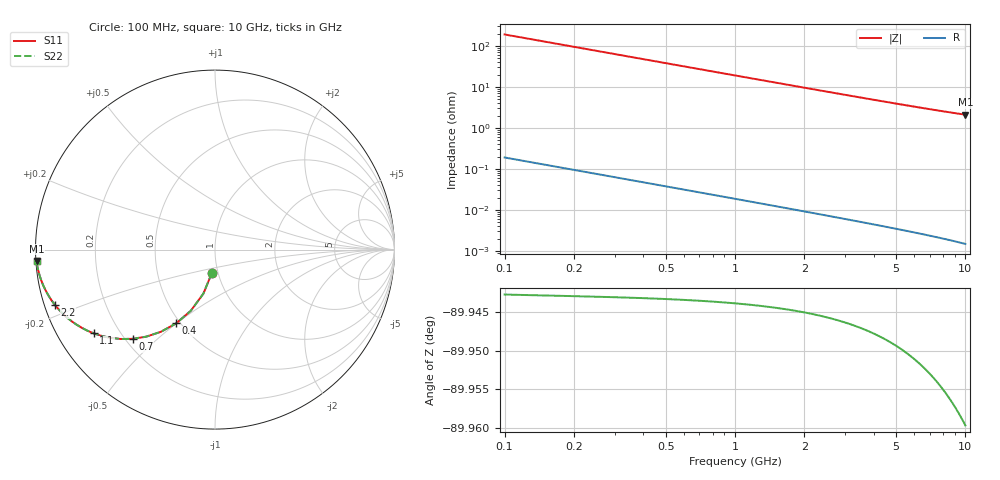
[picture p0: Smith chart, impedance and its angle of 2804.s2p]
# Hz S RI R 50.00
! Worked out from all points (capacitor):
!   100 points, 100 MHz to 10 GHz, reference 50 ohm
!   read as one part in shunt: C = 8.36 pF near 100 MHz
!   lowest |Z| = 2.1 ohm at 10 GHz (marker M1)
!   S11 on the Smith chart (normalised r, x): 100 MHz: 0.94, -0.25; 400 MHz: 0.48, -0.50; 700 MHz: 0.23, -0.42; 1.1 GHz: 0.11, -0.31; 2.2 GHz: 0.03, -0.17; 10 GHz: 0.00, -0.03
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1e8  -0.0171 -0.129  0.9829 -0.1291  0.9829 -0.1291  -0.0171 -0.129
2e8  -0.0647 -0.2453  0.9353 -0.2457  0.9353 -0.2457  -0.0647 -0.2453
3e8  -0.1345 -0.3405  0.8654 -0.341  0.8654 -0.341  -0.1345 -0.3405
4e8  -0.2163 -0.4109  0.7836 -0.4116  0.7836 -0.4116  -0.2163 -0.4109
5e8  -0.3012 -0.4578  0.6988 -0.4588  0.6988 -0.4588  -0.3012 -0.4578
6e8  -0.3828 -0.485  0.6171 -0.4861  0.6171 -0.4861  -0.3828 -0.485
7e8  -0.4577 -0.4971  0.5423 -0.4984  0.5423 -0.4984  -0.4577 -0.4971
8e8  -0.5242 -0.4982  0.4758 -0.4997  0.4758 -0.4997  -0.5242 -0.4982
9e8  -0.5822 -0.4919  0.4178 -0.4935  0.4178 -0.4935  -0.5822 -0.4919
1.1e9  -0.6753 -0.4667  0.3247 -0.4688  0.3247 -0.4688  -0.6753 -0.4667
1.2e9  -0.7121 -0.4511  0.2878 -0.4534  0.2878 -0.4534  -0.7121 -0.4511
1.4e9  -0.7709 -0.4184  0.2291 -0.4211  0.2291 -0.4211  -0.7709 -0.4184
1.6e9  -0.8145 -0.3867  0.1855 -0.3897  0.1855 -0.3897  -0.8145 -0.3867
1.8e9  -0.8474 -0.3574  0.1526 -0.3608  0.1526 -0.3608  -0.8474 -0.3574
2.2e9  -0.8923 -0.3074  0.1077 -0.3115  0.1077 -0.3115  -0.8923 -0.3074
2.7e9  -0.9257 -0.2591  0.0742 -0.2642  0.0742 -0.2642  -0.9257 -0.2591
3.4e9  -0.9518 -0.2104  0.0481 -0.2168  0.0481 -0.2168  -0.9518 -0.2104
4.2e9  -0.9679 -0.1717  0.032 -0.1797  0.032 -0.1797  -0.9679 -0.1717
5.1e9  -0.978 -0.141  0.0219 -0.1508  0.0219 -0.1508  -0.978 -0.141
6.7e9  -0.9872 -0.105  0.0126 -0.118  0.0126 -0.118  -0.9872 -0.105
8.4e9  -0.9919 -0.0802  0.00791 -0.0968  0.00791 -0.0968  -0.9919 -0.0802
1e10  -0.9943 -0.0637  0.00542 -0.0838  0.00542 -0.0838  -0.9943 -0.0637
